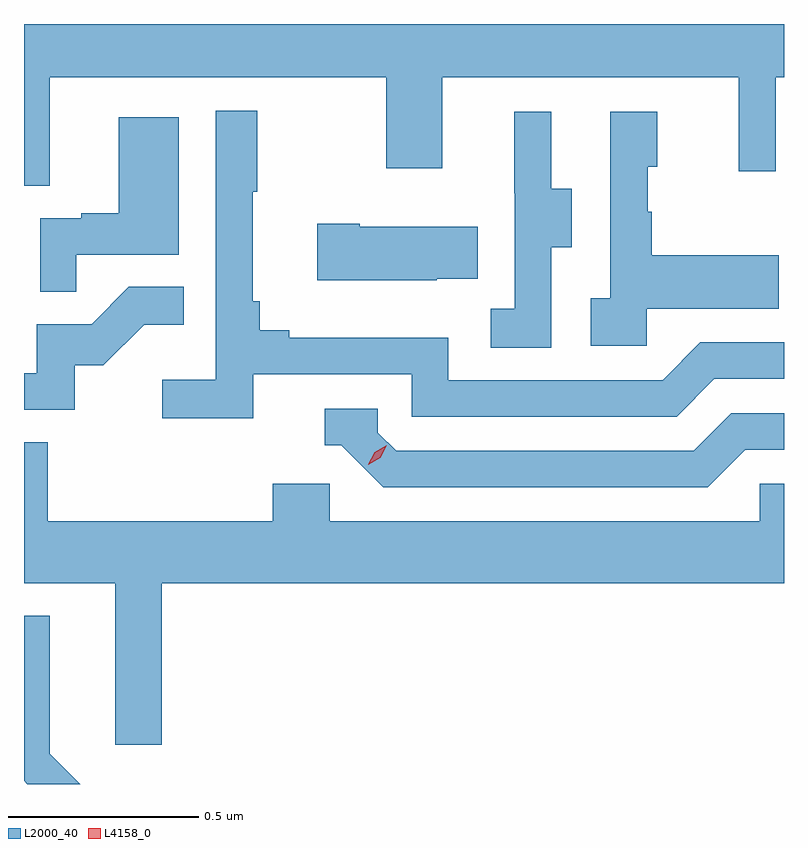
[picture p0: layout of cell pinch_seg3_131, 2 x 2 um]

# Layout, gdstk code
import gdstk
lib = gdstk.Library(unit=1e-6, precision=1e-09)
def P(c, l, *ps):  # polygons
    for p in ps: c.add(gdstk.Polygon(p, *l))
L2000_40 = (2000, 40)
L4158_0 = (4158, 0)

pinch_seg3_131 = lib.new_cell('pinch_seg3_131')
P(pinch_seg3_131, L2000_40, [(1132.417,710.24),(1133.302,710.24),(1133.302,710.001),(1133.449,710.001),(1133.449,710.24),(1134.23,710.24),(1134.23,709.992),(1134.327,709.992),(1134.327,710.24),(1134.349,710.24),(1134.349,710.38),(1132.349,710.38),(1132.349,709.954),(1132.417,709.954)],
  [(1132.952,709.458),(1133.37,709.458),(1133.37,709.347),(1134.067,709.347),(1134.166,709.446),(1134.349,709.446),(1134.349,709.542),(1134.129,709.542),(1134.03,709.443),(1133.466,709.443),(1133.466,709.555),(1133.047,709.555),(1133.047,709.574),(1132.97,709.574),(1132.97,709.651),(1132.951,709.651),(1132.951,709.939),(1132.963,709.939),(1132.963,710.152),(1132.854,710.152),(1132.854,709.444),(1132.713,709.444),(1132.713,709.342),(1132.952,709.342)],
  [(1133.988,709.631),(1134.335,709.631),(1134.335,709.771),(1134.001,709.771),(1134.001,709.886),(1133.991,709.886),(1133.991,710.004),(1134.016,710.004),(1134.016,710.149),(1133.892,710.149),(1133.892,709.658),(1133.841,709.658),(1133.841,709.533),(1133.988,709.533)],
  [(1133.736,709.792),(1133.791,709.792),(1133.791,709.947),(1133.737,709.947),(1133.737,710.149),(1133.639,710.149),(1133.639,709.935),(1133.64,709.935),(1133.64,709.631),(1133.577,709.631),(1133.577,709.528),(1133.736,709.528)],
  [(1132.487,709.773),(1132.756,709.773),(1132.756,710.134),(1132.598,710.134),(1132.598,709.882),(1132.499,709.882),(1132.499,709.869),(1132.392,709.869),(1132.392,709.675),(1132.487,709.675)],
  [(1133.435,709.709),(1133.543,709.709),(1133.543,709.846),(1133.233,709.846),(1133.233,709.854),(1133.121,709.854),(1133.121,709.706),(1133.435,709.706)],
  [(1132.482,709.482),(1132.558,709.482),(1132.665,709.589),(1132.769,709.589),(1132.769,709.688),(1132.625,709.688),(1132.527,709.59),(1132.383,709.59),(1132.383,709.461),(1132.349,709.461),(1132.349,709.365),(1132.482,709.365)],
  [(1134.247,709.26),(1134.349,709.26),(1134.349,709.356),(1134.21,709.356),(1134.111,709.257),(1133.328,709.257),(1133.28,709.305),(1133.28,709.368),(1133.141,709.368),(1133.141,709.272),(1133.184,709.272),(1133.295,709.161),(1134.148,709.161)],
  [(1132.712,708.908),(1134.349,708.908),(1134.349,709.17),(1134.285,709.17),(1134.285,709.072),(1133.154,709.072),(1133.154,709.17),(1133.003,709.17),(1133.003,709.072),(1132.412,709.072),(1132.412,709.28),(1132.349,709.28),(1132.349,708.908),(1132.589,708.908),(1132.589,708.483),(1132.712,708.483)],
  [(1132.417,708.46),(1132.417,708.823),(1132.349,708.823),(1132.349,708.388),(1132.357,708.38),(1132.497,708.38)])
P(pinch_seg3_131, L4158_0, [(1133.255,709.22),(1133.255,709.221),(1133.272,709.253),(1133.303,709.272),(1133.303,709.272),(1133.303,709.272),(1133.286,709.239),(1133.255,709.22)])

lib.write_gds('pinch_seg3_131.gds')
